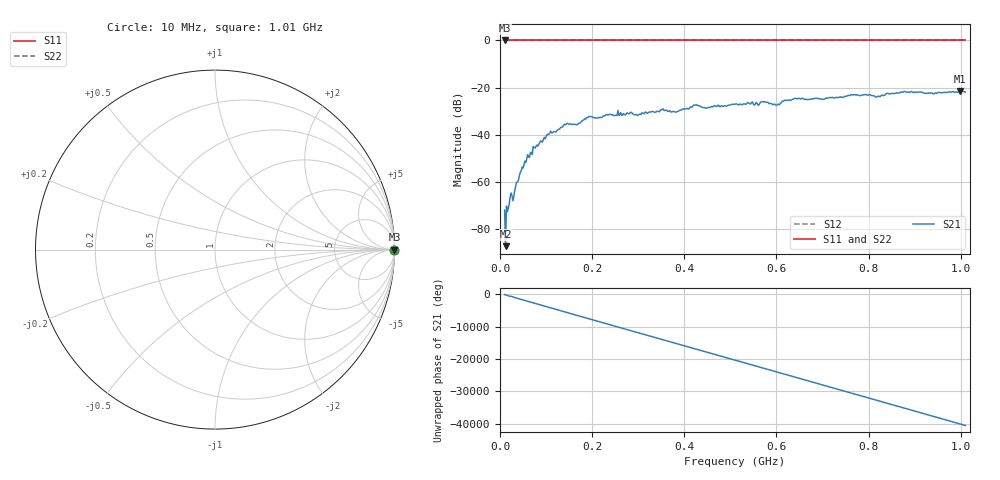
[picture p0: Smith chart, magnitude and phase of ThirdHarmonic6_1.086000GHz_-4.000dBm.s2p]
! 8/16/2025 10:01:58 AM
! C:\ANRITSUVNA\TEMP\TEMP.S2P
! CHANNEL.1
! TR.MEASUREMENT
! RAW.DATA
! RF.CORRECTION.OFF
! AVERAGING.OFF
! IF.BANDWIDTH: 5KHZ
! SWEEPTYPE:  FREQ.SWEEP(Linear)
! Reference Plane Port Info
! PORT:  PORT1  PORT2
! DISTANCE:  0  m  0  m
! TIME:  0  s  0  s
! PHASE.OFFSET:  0  deg.  0  deg.
! LOSS:  0  dB  0  dB
! REF.LOSS:  0  dB  0  dB
! REF.FREQ:  0  Hz  0  Hz
! Power Info
! POWER:  -20  dBm  -20  dBm
! EFF.POWER:  -20  dBm  -20  dBm
! SOURCE.ATTEN:  0  dB  0  dB
! TEST.ATTEN:  0  dB  0  dB
# GHZ S RI R 50.0
! FREQ.GHZ  S11RE  S11IM  S21RE  S21IM  S12RE  S12IM  S22RE  S22IM
!; PortSelection: Port_12
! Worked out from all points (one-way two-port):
!   501 points, 10 MHz to 1.01 GHz, reference 50 ohm
!   highest |S21| = -21.39 dB at 998 MHz (marker M1); lowest = -87.1 dB at 12 MHz (marker M2)
!   lowest |S11| = 0.0 dB at 10 MHz (marker M3)
!   |S11| at or under -10 dB: nowhere
!   |S22| runs from 0.0 to 0.0 dB; largest |S21 - S12| = 1.1
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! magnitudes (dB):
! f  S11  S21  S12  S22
! 10 MHz  0.0  -71.9  0.0  0.0
! 12 MHz  0.0  -87.1  0.0  0.0
! 16 MHz  0.0  -72.5  0.0  0.0
! 22 MHz  0.0  -66.2  0.0  0.0
! 30 MHz  0.0  -66.2  0.0  0.0
! 50 MHz  0.0  -54.0  0.0  0.0
! 76 MHz  0.0  -45.6  0.0  0.0
! 106 MHz  0.0  -39.7  0.0  0.0
! 142 MHz  0.0  -35.8  0.0  0.0
! 178 MHz  0.0  -34.1  0.0  0.0
! 196 MHz  0.0  -32.3  0.0  0.0
! 344 MHz  0.0  -30.1  0.0  0.0
! 384 MHz  0.0  -30.2  0.0  0.0
! 424 MHz  0.0  -27.4  0.0  0.0
! 446 MHz  0.0  -28.6  0.0  0.0
! 510 MHz  0.0  -27.0  0.0  0.0
! 602 MHz  0.0  -27.2  0.0  0.0
! 638 MHz  0.0  -24.7  0.0  0.0
! 678 MHz  0.0  -24.7  0.0  0.0
! 844 MHz  0.0  -22.7  0.0  0.0
! 998 MHz  0.0  -21.4  0.0  0.0
! 1.01 GHz  0.0  -21.9  0.0  0.0
